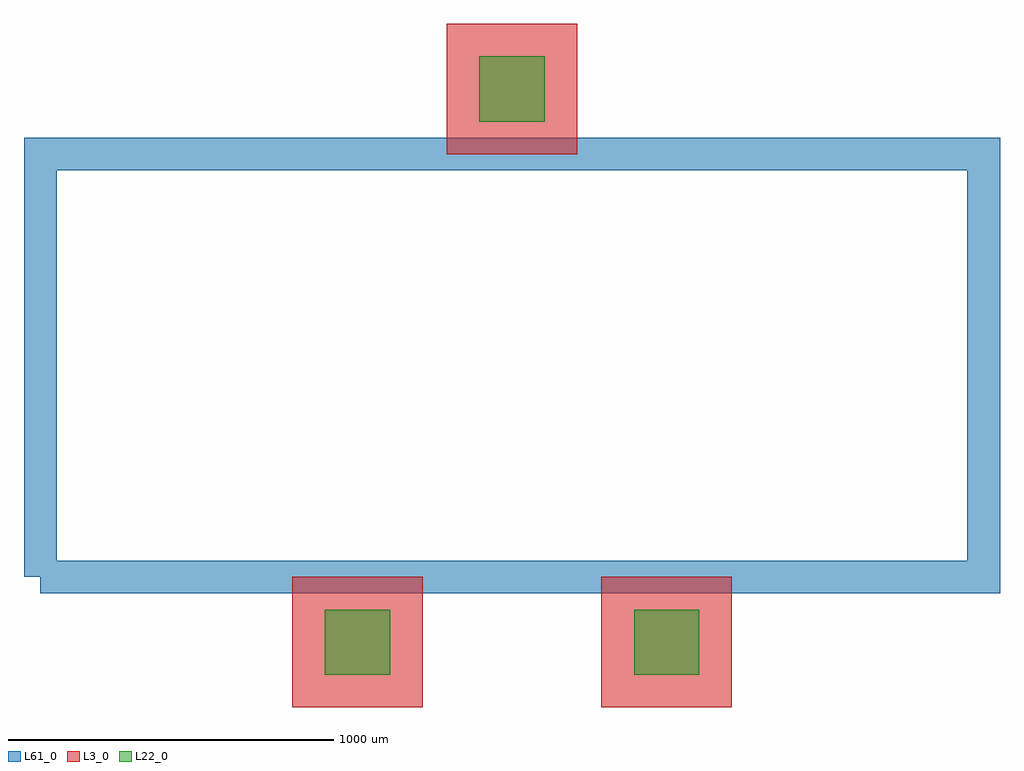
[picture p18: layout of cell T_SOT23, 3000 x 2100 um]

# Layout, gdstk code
import gdstk
lib = gdstk.Library(unit=1e-6, precision=1e-09)
def R(c, l, rs):  # rectangles x0, y0, x1, y1
    for r in rs: c.add(gdstk.rectangle(r[:2], r[2:], *l))
L3_0 = (3, 0)
L22_0 = (22, 0)
L61_0 = (61, 0)

t_sot23 = lib.new_cell('T_SOT23')
R(t_sot23, L3_0, [(-675,-1050,-275,-650), (275,-1050,675,-650), (-200,650,200,1050)])
R(t_sot23, L22_0, [(-575,-950,-375,-750), (375,-950,575,-750), (-100,750,100,950)])
t_sot23.add(gdstk.FlexPath([(-1450,-650),(1450,-650),(1450,650),(-1450,650),(-1450,-650)], 100, ends="flush", simple_path=True, layer=61, datatype=0))  # L61_0

lib.write_gds('T_SOT23.gds')
